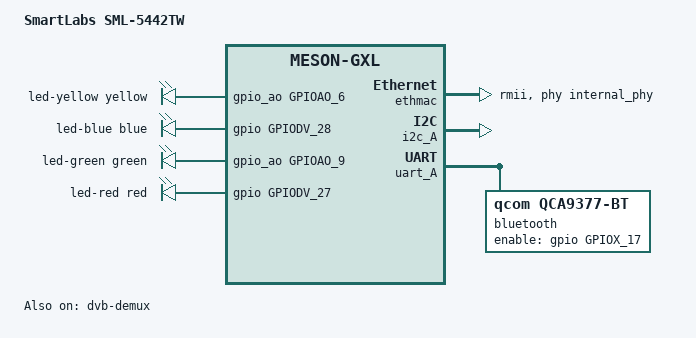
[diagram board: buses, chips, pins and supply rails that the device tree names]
// SPDX-License-Identifier: (GPL-2.0+ OR MIT)
/*
 * Copyright (c) Christian Hewitt <christianshewitt@gmail.com>
 */

/dts-v1/;

#include "meson-gxl-s905d.dtsi"
#include "meson-gx-p23x-q20x.dtsi"
#include <dt-bindings/leds/common.h>

/ {
	compatible = "smartlabs,sml5442tw", "amlogic,s905d", "amlogic,meson-gxl";
	model = "SmartLabs SML-5442TW";

	soc {
		demux: demux {
			compatible = "amlogic, dmx";
			interrupts = <GIC_SPI 23 IRQ_TYPE_EDGE_RISING>,
				     <GIC_SPI 5  IRQ_TYPE_EDGE_RISING>,
				     <GIC_SPI 53 IRQ_TYPE_EDGE_RISING>,
				     <GIC_SPI 19 IRQ_TYPE_EDGE_RISING>,
				     <GIC_SPI 25 IRQ_TYPE_EDGE_RISING>;
			interrupt-names = "demux0_irq", "demux1_irq",
					  "demux2_irq", "dvr0_irq",
					  "dvr1_irq";
		};
	};

	dvb-demux {
		compatible = "amlogic,dvb-demux";
		reg = <0x0 0xc1105800 0x0 0x2000 0x0 0xc1108c40 0x0 0x100>;

		status = "okay";
		ts1 = "serial";
		ts1_control = <0x800>;
		ts1_invert = <0x0>;
		pinctrl-names = "s_ts1";
		pinctrl-0 = <&dvb_s_ts1_pins>;
		dmx = <&demux>;

		clocks = <&clkc CLKID_DEMUX
			  &clkc CLKID_ASYNC_FIFO
			  &clkc CLKID_AHB_ARB0
			  &clkc CLKID_HIU_IFACE>;
		clock-names = "demux", "asyncfifo",
			      "ahbarb0", "uparsertop";

		resets = <&reset RESET_DEMUX>,
			 <&reset RESET_DEMUX_DES>,
			 <&reset RESET_DEMUX_RESET_0>,
			 <&reset RESET_DEMUX_RESET_1>,
			 <&reset RESET_DEMUX_RESET_2>,
			 <&reset RESET_PERIPHS_ASYNC_0>,
			 <&reset RESET_PERIPHS_ASYNC_1>;
		reset-names = "demux_rst", "des_rst", "demux0_rst",
			      "demux1_rst", "demux2_rst",
			      "async0_rst", "async1_rst";

		dvb_t: frontend@0 {
			compatible = "smartlabs,avl6762";
			i2c-bus = <&i2c_A>;
			fec-reset-gpios = <&gpio GPIOZ_5 GPIO_ACTIVE_HIGH>;
		};
	};

	leds {
		compatible = "gpio-leds";

		led-yellow {
			color = <LED_COLOR_ID_YELLOW>;
			function = LED_FUNCTION_STATUS;
			gpios = <&gpio_ao GPIOAO_6 GPIO_ACTIVE_HIGH>;
			default-state = "off";
		};

		led-blue {
			color = <LED_COLOR_ID_BLUE>;
			function = LED_FUNCTION_STATUS;
			gpios = <&gpio GPIODV_28 GPIO_ACTIVE_HIGH>;
			default-state = "off";
		};

		led-green {
			color = <LED_COLOR_ID_GREEN>;
			function = LED_FUNCTION_STATUS;
			gpios = <&gpio_ao GPIOAO_9 GPIO_ACTIVE_HIGH>;
			default-state = "on";
		};

		led-red {
			color = <LED_COLOR_ID_RED>;
			function = LED_FUNCTION_STATUS;
			gpios = <&gpio GPIODV_27 GPIO_ACTIVE_HIGH>;
			default-state = "off";
		};
	};
};

&ethmac {
	status = "okay";
	phy-mode = "rmii";
	phy-handle = <&internal_phy>;
};

&i2c_A {
	status = "okay";
	pinctrl-0 = <&i2c_a_pins>;
	pinctrl-names = "default";
};

&internal_phy {
	pinctrl-0 = <&eth_link_led_pins>, <&eth_act_led_pins>;
	pinctrl-names = "default";
};

&ir {
	linux,rc-map-name = "rc-khamsin";
};

/* This is connected to the Bluetooth module: */
&uart_A {
	status = "okay";
	pinctrl-0 = <&uart_a_pins>, <&uart_a_cts_rts_pins>;
	pinctrl-names = "default";
	uart-has-rtscts;

	bluetooth {
		compatible = "qcom,qca9377-bt";
		enable-gpios = <&gpio GPIOX_17 GPIO_ACTIVE_HIGH>;
		max-speed = <2000000>;
		clocks = <&wifi32k>;
	};
};
